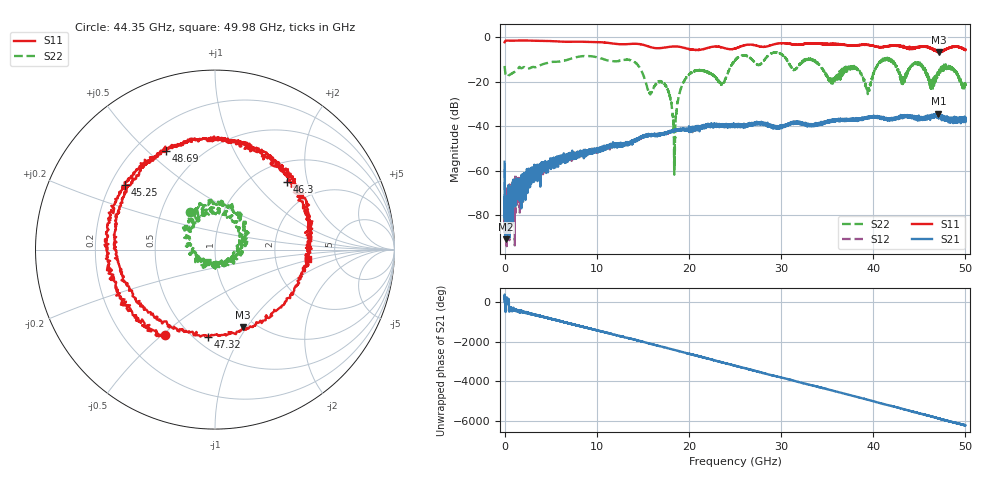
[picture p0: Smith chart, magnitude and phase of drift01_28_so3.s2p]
!Created with skrf (http://scikit-rf.org).
# Hz S RI R 50.0
!freq ReS11 ImS11 ReS21 ImS21 ReS12 ImS12 ReS22 ImS22
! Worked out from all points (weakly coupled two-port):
!   10001 points, 300 kHz to 50 GHz, reference 50 ohm
!   highest |S21| = -34.38 dB at 47.08 GHz (marker M1); lowest = -90.9 dB at 160.3 MHz (marker M2)
!   lowest |S11| = -6.7 dB at 47.15 GHz (marker M3), VSWR 2.71, Z = 43.7 - j48.1 ohm
!   |S11| at or under -10 dB: nowhere
!   |S22| runs from -61.7 to -6.7 dB; largest |S21 - S12| = 0.0038
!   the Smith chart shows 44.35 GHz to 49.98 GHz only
!   S11 on the Smith chart (normalised r, x): 44.35 GHz: 0.37, -0.51; 45.25 GHz: 0.26, +0.30; 46.3 GHz: 1.39, +1.52; 47.32 GHz: 0.58, -0.74; 48.69 GHz: 0.32, +0.57; 49.98 GHz: 3.10, -0.43
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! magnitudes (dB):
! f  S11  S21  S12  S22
! 300 kHz  -2.1  -55.9  -59.2  -12.8
! 160.3 MHz  -1.5  -90.9  -72.8  -17.4
! 8.335 GHz  -2.0  -51.4  -51.9  -8.5
! 16.67 GHz  -4.8  -43.9  -43.7  -19.9
! 17.74 GHz  -4.4  -42.7  -43.4  -23.9
! 18.43 GHz  -4.1  -41.8  -42.3  -57.3
! 19.89 GHz  -5.1  -41.6  -41.5  -17.1
! 23.6 GHz  -4.5  -39.3  -40.0  -20.5
! 25 GHz  -5.0  -39.3  -39.7  -10.4
! 33.34 GHz  -2.6  -39.3  -39.3  -9.9
! 39.46 GHz  -3.3  -36.2  -36.2  -23.5
! 41.67 GHz  -3.9  -36.7  -36.8  -9.8
! 43.18 GHz  -4.2  -35.6  -35.7  -18.9
! 44.35 GHz  -5.2  -35.8  -35.8  -12.1
! 45.25 GHz  -4.2  -36.7  -36.3  -12.5
! 46.3 GHz  -5.1  -35.3  -35.6  -22.9
! 47.08 GHz  -6.5  -34.4  -35.5  -16.6
! 47.15 GHz  -6.7  -36.0  -35.5  -15.4
! 47.32 GHz  -6.3  -35.2  -35.6  -14.4
! 48.69 GHz  -4.3  -37.2  -37.1  -14.2
! 49.98 GHz  -5.7  -38.0  -37.3  -21.3
! 50 GHz  -5.5  -36.7  -36.6  -21.8
